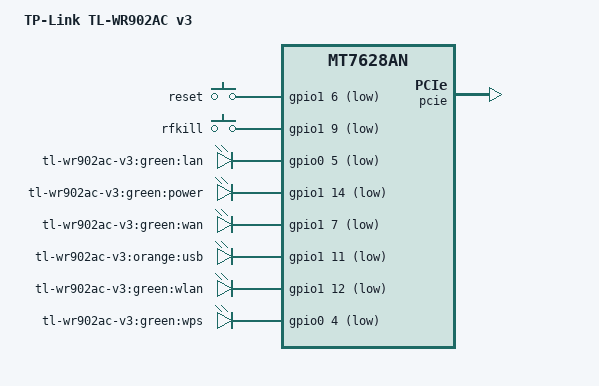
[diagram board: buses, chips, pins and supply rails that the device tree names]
/dts-v1/;

#include "TL-WR84XN.dtsi"

#include <dt-bindings/gpio/gpio.h>
#include <dt-bindings/input/input.h>

/ {
	compatible = "tplink,tl-wr902ac-v3", "mediatek,mt7628an-soc";
	model = "TP-Link TL-WR902AC v3";

	gpio-keys-polled {
		compatible = "gpio-keys-polled";
		#address-cells = <1>;
		#size-cells = <0>;
		poll-interval = <20>;

		reset {
			label = "reset";
			gpios = <&gpio1 6 GPIO_ACTIVE_LOW>;
			linux,code = <KEY_RESTART>;
		};

		rfkill {
			label = "rfkill";
			gpios = <&gpio1 9 GPIO_ACTIVE_LOW>;
			linux,code = <KEY_RFKILL>;
		};
	};

	gpio-leds {
		compatible = "gpio-leds";

		lan {
			label = "tl-wr902ac-v3:green:lan";
			gpios = <&gpio0 5 GPIO_ACTIVE_LOW>;
		};

		power {
			label = "tl-wr902ac-v3:green:power";
			gpios = <&gpio1 14 GPIO_ACTIVE_LOW>;
		};

		wan {
			label = "tl-wr902ac-v3:green:wan";
			gpios = <&gpio1 7 GPIO_ACTIVE_LOW>;
		};

		usb {
			label = "tl-wr902ac-v3:orange:usb";
			gpios = <&gpio1 11 GPIO_ACTIVE_LOW>;
		};

		wlan {
			label = "tl-wr902ac-v3:green:wlan";
			gpios = <&gpio1 12 GPIO_ACTIVE_LOW>;
		};

		wps {
			label = "tl-wr902ac-v3:green:wps";
			gpios = <&gpio0 4 GPIO_ACTIVE_LOW>;
		};
	};
};

&pinctrl {
	state_default: pinctrl0 {
		gpio {
			ralink,group = "p0led_an", "p2led_an", "perst", "refclk", "wdt", "wled_an";
			ralink,function = "gpio";
		};
	};
};

&pcie {
	status = "okay";

	pcie-bridge {
		mt76@0,0 {
			reg = <0x0000 0 0 0 0>;
			device_type = "pci";
			mediatek,mtd-eeprom = <&factory 32768>;
			ieee80211-freq-limit = <5000000 6000000>;
			mtd-mac-address = <&factory 0xf100>;
			mtd-mac-address-increment = <(-1)>;
		};
	};
};
